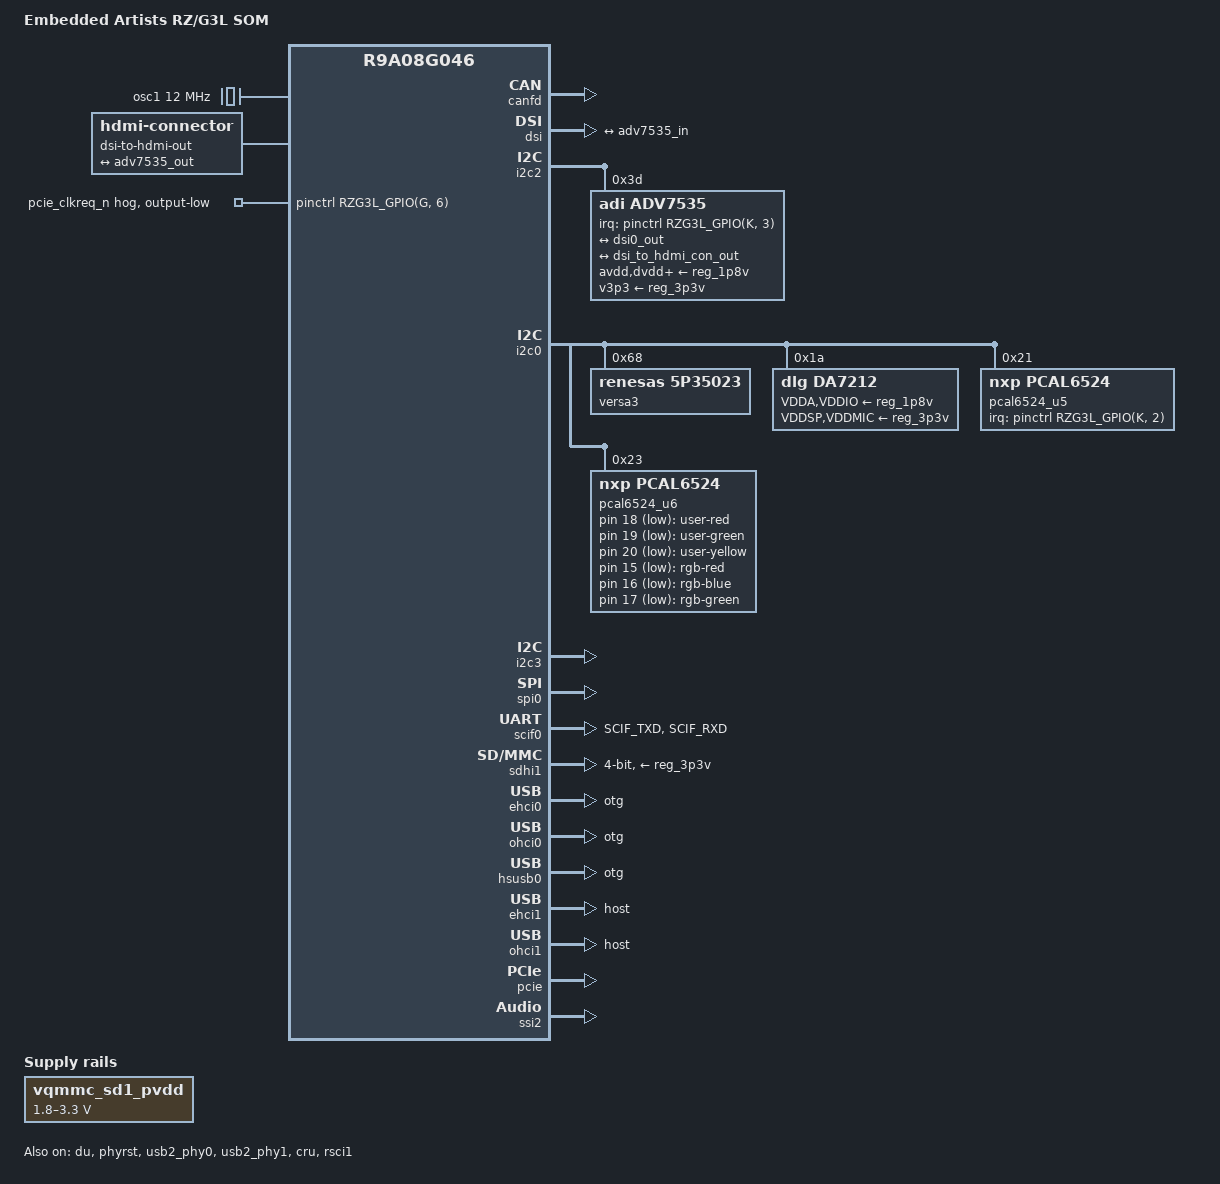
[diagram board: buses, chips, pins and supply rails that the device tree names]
// SPDX-License-Identifier: (GPL-2.0-only OR BSD-2-Clause)
/*
 * Device Tree Source for the RZ/G3L Developer's Kit.
 *
 * Copyright (C) 2026 Embedded Artists AB.
 */

/dts-v1/;

#include <dt-bindings/gpio/gpio.h>
#include <dt-bindings/input/input.h>
#include <dt-bindings/pinctrl/renesas,r9a08g046-pinctrl.h>

#include "r9a08g046l48.dtsi"
#include "rzg3l-ea-som.dtsi"

/ {
	model = "Embedded Artists RZ/G3L SOM";
	compatible = "ea,rzg3l-ea-som-kit", "renesas,r9a08g046l48",
		     "renesas,r9a08g046";

	chosen {
		bootargs = "ignore_loglevel";
		stdout-path = "serial3:115200n8";
	};

	aliases {
		i2c0 = &i2c0;
		serial2 = &rsci1;
		serial3 = &scif0;
		mmc1 = &sdhi1;
	};

	reserved-memory {
		#address-cells = <2>;
		#size-cells = <2>;
		ranges;

		global_cma: linux,cma@58000000 {
			compatible = "shared-dma-pool";
			linux,cma-default;
			reusable;
			reg = <0x0 0x58000000 0x0 0x10000000>;
		};

		mmp_reserved: linux,multimedia {
			compatible = "shared-dma-pool";
			reusable;
			reg = <0x0 0x68000000 0x0 0x8000000>;
		};
	};

	mmngr {
		compatible = "renesas,mmngr";
		memory-region = <&mmp_reserved>;
	};

	mmngrbuf {
		compatible = "renesas,mmngrbuf";
	};

	vspm_if {
		compatible = "renesas,vspm_if";
	};

	vqmmc_sd1_pvdd: regulator-vqmmc-sd1-pvdd {
		compatible = "regulator-gpio";
		regulator-name = "SD1_PVDD";
		regulator-min-microvolt = <1800000>;
		regulator-max-microvolt = <3300000>;
		gpios = <&pinctrl RZG3L_GPIO(J, 1) GPIO_ACTIVE_HIGH>;
		gpios-states = <0>;
		states = <3300000 0>, <1800000 1>;
	};

	osc1: cec-clock {
		compatible = "fixed-clock";
		#clock-cells = <0>;
		clock-frequency = <12000000>;
	};

	dsi-to-hdmi-out {
		compatible = "hdmi-connector";
		type = "d";

		port {
			dsi_to_hdmi_con_out: endpoint {
				remote-endpoint = <&adv7535_out>;
			};
		};
	};

	dummy_codec: codec_test {
		compatible = "linux,snd-soc-dummy";
		#sound-dai-cells = <0>;
	};

	snd_rzg3l: sound {
		compatible = "simple-audio-card";
		simple-audio-card,name = "snd_rzg3l";

		ssi_link_play: simple-audio-card,dai-link@0 {
			format = "i2s";
			bitclock-master = <&cpu_dai>;
			frame-master = <&cpu_dai>;
			mclk-fs = <256>;

			cpu_dai: cpu {
				sound-dai = <&ssi2>;
			};

			codec_dai: codec {
				sound-dai = <&da7212>;
				clocks = <&versa3 1>;
			};
		};

		pdm_link_rec: simple-audio-card,dai-link@1 {
			format = "pdm";
			bitclock-master = <&cpu_dai1>;
			frame-master = <&cpu_dai1>;

			cpu_dai1: cpu {
				sound-dai = <&pdm>;
			};

			codec {
				sound-dai = <&dummy_codec>;
			};
		};
	};

	leds {
		compatible = "gpio-leds";

		led-0 {
			label = "user-red";
			gpios = <&pcal6524_u6 18 GPIO_ACTIVE_LOW>;
			default-state = "off";
		};

		led-1 {
			label = "user-green";
			gpios = <&pcal6524_u6 19 GPIO_ACTIVE_LOW>;
			default-state = "off";
		};

		led-2 {
			label = "user-yellow";
			gpios = <&pcal6524_u6 20 GPIO_ACTIVE_LOW>;
			default-state = "off";
		};

		led-3 {
			label = "rgb-red";
			gpios = <&pcal6524_u6 15 GPIO_ACTIVE_LOW>;
			default-state = "off";
		};

		led-4 {
			label = "rgb-blue";
			gpios = <&pcal6524_u6 16 GPIO_ACTIVE_LOW>;
			default-state = "off";
		};

		led-5 {
			label = "rgb-green";
			gpios = <&pcal6524_u6 17 GPIO_ACTIVE_LOW>;
			default-state = "off";
		};
	};
};

&pinctrl {
	canfd_pins: canfd {
		can1_pins: can1 {
			pinmux = <RZG3L_PORT_PINMUX(5, 2, 3)>, /* RX */
				 <RZG3L_PORT_PINMUX(5, 3, 3)>; /* TX */
		};
	};

	i2c0_pins: i2c0 {
		pinmux = <RZG3L_PORT_PINMUX(L, 2, 4)>, /* I2C_PM_CK, I2C-A on carrier board */
			 <RZG3L_PORT_PINMUX(L, 3, 4)>; /* I2C_PM_DAT, I2C-A on carrier board */
	};

	spi0_pins: spi0 {
		pinmux = <RZG3L_PORT_PINMUX(3, 0, 2)>, /* MISO */
			 <RZG3L_PORT_PINMUX(3, 1, 2)>, /* MOSI */
			 <RZG3L_PORT_PINMUX(3, 2, 2)>, /* SCK */
			 <RZG3L_PORT_PINMUX(3, 3, 2)>; /* SSLA */
			 power-source = <1800>;
	};

	scif0_pins: scif0 {
		pins = "SCIF_TXD", "SCIF_RXD";
		power-source = <1800>;
	};

	sdhi1_pins: sd1 {
		sd1-clk {
			pinmux = <RZG3L_PORT_PINMUX(G, 0, 1)>; /* SD1_CLK */
			power-source = <3300>;
			renesas,sd_ch1_poc;
		};

		sd1-cmd {
			pinmux = <RZG3L_PORT_PINMUX(G, 1, 1)>; /* SD1_CMD */
			input-enable;
			power-source = <3300>;
			renesas,sd_ch1_poc;
			bias-pull-up;
		};

		sd1-data {
			pinmux = <RZG3L_PORT_PINMUX(G, 2, 1)>, /* SD1_DAT0 */
				 <RZG3L_PORT_PINMUX(G, 3, 1)>, /* SD1_DAT1 */
				 <RZG3L_PORT_PINMUX(G, 4, 1)>, /* SD1_DAT2 */
				 <RZG3L_PORT_PINMUX(G, 5, 1)>; /* SD1_DAT3 */
			input-enable;
			power-source = <3300>;
			renesas,sd_ch1_poc;
		};
	};

	sdhi1_uhs_pins: sd1-uhs {
		sd1-clk {
			pinmux = <RZG3L_PORT_PINMUX(G, 0, 1)>; /* SD1_CLK */
			power-source = <1800>;
			renesas,sd_ch1_poc;
		};

		sd1-cmd {
			pinmux = <RZG3L_PORT_PINMUX(G, 1, 1)>; /* SD1_CMD */
			input-enable;
			power-source = <1800>;
			renesas,sd_ch1_poc;
		};

		sd1-data {
			pinmux = <RZG3L_PORT_PINMUX(G, 2, 1)>, /* SD1_DAT0 */
				 <RZG3L_PORT_PINMUX(G, 3, 1)>, /* SD1_DAT1 */
				 <RZG3L_PORT_PINMUX(G, 4, 1)>, /* SD1_DAT2 */
				 <RZG3L_PORT_PINMUX(G, 5, 1)>; /* SD1_DAT3 */
			input-enable;
			power-source = <1800>;
			renesas,sd_ch1_poc;
		};
	};

	pcie-clkreq-n {
		gpio-hog;
		gpios = <RZG3L_GPIO(G, 6) GPIO_ACTIVE_HIGH>;
		output-low;
		line-name = "pcie_clkreq_n";
	};

	pcie_pins: pcie {
		pinmux = <RZG3L_PORT_PINMUX(G, 7, 1)>; /* PCIE_RST_OUT# */
	};

	rsci1_pins: rsci1 {
		pinmux = <RZG3L_PORT_PINMUX(D, 4, 5)>, /* RSCI1_RXD_MISO_SCL */
			 <RZG3L_PORT_PINMUX(D, 5, 5)>, /* RSCI1_TXD_MOSI_SDA */
			 <RZG3L_PORT_PINMUX(D, 6, 6)>, /* RSCI1_CTS */
			 <RZG3L_PORT_PINMUX(D, 7, 5)>; /* RSCI1_SS_CTS#_RTS# */
		bias-pull-up;
	};

	i2c2_pins: i2c2 {
		pinmux = <RZG3L_PORT_PINMUX(A, 4, 4)>, /* I2C2_SCL, I2C-B on carrier board */
			 <RZG3L_PORT_PINMUX(A, 5, 4)>; /* I2C2_SDA, I2C-B on carrier board */
	};

	i2c3_pins: i2c3 {
		pinmux = <RZG3L_PORT_PINMUX(2, 0, 4)>, /* SCL */
			 <RZG3L_PORT_PINMUX(2, 1, 4)>; /* SDA */
	};

	sound_clk_pins: sound_clk {
		pinmux = <RZG3L_PORT_PINMUX(3, 4, 8)>, /* AUDIO_CLKB */
			 <RZG3L_PORT_PINMUX(3, 5, 8)>; /* AUDIO_CLKC*/
	};

	ssi2_pins: ssi2 {
		pinmux = <RZG3L_PORT_PINMUX(7, 1, 9)>, /* BCK */
			 <RZG3L_PORT_PINMUX(7, 2, 9)>, /* RCK */
			 <RZG3L_PORT_PINMUX(7, 3, 9)>, /* TXD */
			 <RZG3L_PORT_PINMUX(7, 0, 9)>; /* RXD */
	};

	pcal6524_u5_pins: pcal6524_u5 {
		pinmux = <RZG3L_PORT_PINMUX(K, 2, 15)>; /* IRQ9 - GPIO-A */
	};
};

&canfd {
	pinctrl-0 = <&canfd_pins>;
	pinctrl-names = "default";

	status = "okay";

	channel0 {
		status = "disabled";
	};

	channel1 {
		status = "okay";
	};
};

&du {
	status = "okay";
};

&dsi {
	status = "okay";

	ports {
		port@1 {
			dsi0_out: endpoint {
				remote-endpoint = <&adv7535_in>;
				data-lanes = <1 2 3 4>;
			};
		};
	};
};

&i2c2 {
	pinctrl-0 = <&i2c2_pins>;
	pinctrl-names = "default";
	status = "okay";

	adv7535: hdmi@3d {
		compatible = "adi,adv7535";
		reg = <0x3d>, <0x2d>, <0x4d>, <0x5d>;
		reg-names = "main", "cec", "edid", "packet";

		interrupts-extended = <&pinctrl RZG3L_GPIO(K, 3) IRQ_TYPE_EDGE_FALLING>;
		clocks = <&osc1>;
		clock-names = "cec";
		avdd-supply = <&reg_1p8v>;
		dvdd-supply = <&reg_1p8v>;
		pvdd-supply = <&reg_1p8v>;
		a2vdd-supply = <&reg_1p8v>;
		v3p3-supply = <&reg_3p3v>;
		v1p2-supply = <&reg_1p8v>;

		adi,dsi-lanes = <4>;

		ports {
			#address-cells = <1>;
			#size-cells = <0>;

			port@0 {
				reg = <0>;
				adv7535_in: endpoint@0 {
					remote-endpoint = <&dsi0_out>;
				};
			};

			port@1 {
				reg = <1>;
				adv7535_out: endpoint@1 {
					remote-endpoint = <&dsi_to_hdmi_con_out>;
				};
			};
		};
	};
};

&i2c0 {
	pinctrl-0 = <&i2c0_pins>;
	pinctrl-names = "default";

	status = "okay";

	versa3: clock-generator@68 {
		compatible = "renesas,5p35023";
		reg = <0x68>;
		#clock-cells = <1>;
		clocks = <&x2_clk>;

		assigned-clocks = <&versa3 0>, <&versa3 1>,
				  <&versa3 2>, <&versa3 3>,
				  <&versa3 4>, <&versa3 5>;
		assigned-clock-rates = <24000000>, <12288000>,
				       <11289600>, <12288000>,
				       <25000000>, <25000000>;
	};

	da7212: codec@1a {
		compatible = "dlg,da7212";
		reg = <0x1a>;

		clocks = <&versa3 1>;
		clock-names = "mclk";

		#sound-dai-cells = <0>;

		dlg,micbias1-lvl = <2500>;
		dlg,micbias2-lvl = <2500>;
		dlg,dmic-data-sel = "lrise_rfall";
		dlg,dmic-samplephase = "between_clkedge";
		dlg,dmic-clkrate = <3000000>;

		VDDA-supply = <&reg_1p8v>;
		VDDSP-supply = <&reg_3p3v>;
		VDDMIC-supply = <&reg_3p3v>;
		VDDIO-supply = <&reg_1p8v>;
	};

	pcal6524_u5: gpio@21 {
		compatible = "nxp,pcal6524";
		pinctrl-names = "default";
		pinctrl-0 = <&pcal6524_u5_pins>;
		reg = <0x21>;
		gpio-controller;
		#gpio-cells = <2>;
		interrupt-controller;
		#interrupt-cells = <2>;
		interrupt-parent = <&pinctrl>;
		interrupts = <RZG3L_GPIO(K, 2) IRQ_TYPE_EDGE_BOTH>;

		gpio-line-names = "M2E_WL_REG_ON_3V3", "M2E_WL_DEV_WAKE", "M2E_WL_HOST_WAKE", "M2E_BT_REG_ON",
			"M2E_BT_DEV_WAKE", "M2E_BT_HOST_WAKE", "M2E_SDIO_RST", "M2E_PERST",
			"M2E_PEWAKE", "M2E_ALERT", "M2E_PWR_EN", "M2B_PWR_OFF",
			"M2B_WDISABLE", "M2B_PEWAKE", "M2B_PERST", "M2M_PERST",
			"M2M_PEWAKE", "M2BM_PWR_EN", "M2B_RESET", "SE050_EN_RST",
			"SLS32AIA_RST", "I2C_EXT_IRQ", "I2C_EXT_RST", "MIPI_RST";

		hog_M2E_WL_REG_ON_3V3 {
			gpio-hog;
			gpios = <0 0>;
			output-high;
		};
		hog_M2B_PERST { /* To use M.2 B-key (usb/pci) slot on carrier board */
			gpio-hog;
			gpios = <18 0>;
			output-high;
		};
		hog_M2E_PERST { /* To use M.2 E-key (wifi) slot on carrier board */
			gpio-hog;
			gpios = <7 0>;
			output-high;
		};
		hog_SE050_EN_RST {
			gpio-hog;
			gpios = <19 0>;
			output-high;
		};
		hog_M2B_PWR_OFF {
			gpio-hog;
			gpios = <11 0>;
			output-high;
		};
		hog_M2B_WDISABLE {
			gpio-hog;
			gpios = <12 0>;
			output-high;
		};
		hog_M2M_PERST { /* To use M.2 M-key (deepx) slot on carrier board */
			gpio-hog;
			gpios = <15 0>;
			output-high;
		};
	};

	pcal6524_u6: gpio@23 {
		compatible = "nxp,pcal6524";
		reg = <0x23>;
		gpio-controller;
		#gpio-cells = <2>;
		gpio-line-names = "CSI0_RST-DATA", "CSI0_PWR-CLK", "CSI1_RST-DATA", "CSI1_PWR-CLK",
			"MIPI_CTP_RST", "MIPI_CTP_IRQ", "RGB_BL_PWR", "RGB_CTP_RST",
			"RGB_CTP_IRQ", "MIPI_BL_PWR_EN", "ADV_IRQ", "",
			"", "", "", "RGB_LED_RED",
			"RGB_LED_BLUE", "RGB_LED_GREEN", "USER_LED_RED", "USER_LED_GREEN",
			"USER_LED_YELLOW", "USER_BUTTON1", "USER_BUTTON2", "USER_BUTTON3";
	};
};

&i2c3 {
	pinctrl-0 = <&i2c3_pins>;
	pinctrl-names = "default";

	status = "okay";
};

&spi0 {
	pinctrl-0 = <&spi0_pins>;
	pinctrl-names = "default";

	status = "okay";
};

&scif0 {
	pinctrl-0 = <&scif0_pins>;
	pinctrl-names = "default";
	status = "okay";
};

&sdhi1 {
	pinctrl-0 = <&sdhi1_pins>;
	pinctrl-1 = <&sdhi1_uhs_pins>;
	pinctrl-names = "default", "state_uhs";

	vmmc-supply = <&reg_3p3v>;
	vqmmc-supply = <&vqmmc_sd1_pvdd>;

	max-frequency = <300000000>;

	bus-width = <4>;
	sd-uhs-sdr50;
	sd-uhs-sdr104;

	status = "okay";
};

&phyrst {
	status = "okay";
};

&usb2_phy0 {
	vbus-supply = <&usb0_vbus_otg>;
	status = "okay";
};

&usb2_phy1 {
	status = "okay";
};

&ehci0 {
	dr_mode = "otg";
	status = "okay";

	memory-region = <&global_cma>;
};

&ohci0 {
	dr_mode = "otg";
	status = "okay";

	memory-region = <&global_cma>;
};

&hsusb0 {
	dr_mode = "otg";
	status = "okay";
};

&ehci1 {
	dr_mode = "host";
	status = "okay";

	memory-region = <&global_cma>;
};

&ohci1 {
	dr_mode = "host";
	status = "okay";

	memory-region = <&global_cma>;
};

&pcie {
	pinctrl-0 = <&pcie_pins>;
	pinctrl-names = "default";
	status = "okay";
};

&cru {
	status = "okay";
};

&rsci1 {
	compatible = "renesas,rz-rscif";
	pinctrl-0 = <&rsci1_pins>;
	pinctrl-names = "default";

	uart-has-rtscts;

	status = "okay";
};

&ssi2 {
	clocks = <&cpg CPG_MOD R9A08G046_SSI2_PCLK2>,
		 <&cpg CPG_MOD R9A08G046_SSI2_PCLK_SFR>,
		 <&versa3 2>, <&versa3 3>;
	pinctrl-0 = <&sound_clk_pins>, <&ssi2_pins>;
	pinctrl-names = "default";

	status = "okay";
};
